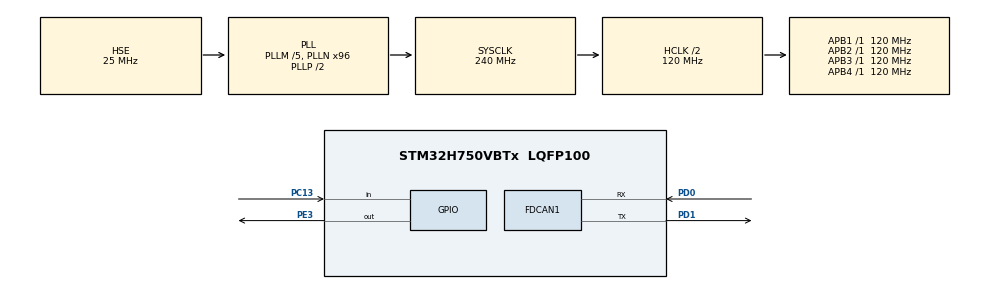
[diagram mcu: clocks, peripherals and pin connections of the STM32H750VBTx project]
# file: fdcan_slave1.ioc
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FDCAN1.AutoRetransmission=ENABLE
FDCAN1.CalculateBaudRateNominal=500000
FDCAN1.CalculateTimeBitNominal=2000
FDCAN1.CalculateTimeQuantumNominal=400.0
FDCAN1.DataPrescaler=25
FDCAN1.DataTimeSeg1=2
FDCAN1.FrameFormat=FDCAN_FRAME_FD_NO_BRS
FDCAN1.NominalPrescaler=20
FDCAN1.NominalSyncJumpWidth=13
FDCAN1.RxFifo0ElmtSize=FDCAN_DATA_BYTES_12
FDCAN1.RxFifo0ElmtsNbr=1
FDCAN1.StdFiltersNbr=1
FDCAN1.TxElmtSize=FDCAN_DATA_BYTES_12
FDCAN1.TxFifoQueueElmtsNbr=1
Mcu.Family=STM32H7
Mcu.Name=STM32H750VBTx
Mcu.Package=LQFP100
NVIC.FDCAN1_IT0_IRQn=true\:0\:0\:false\:false\:true\:true\:true\:true
NVIC.PriorityGroup=NVIC_PRIORITYGROUP_4
PA13\ (JTMS/SWDIO).Mode=Serial_Wire
PA13\ (JTMS/SWDIO).Signal=DEBUG_JTMS-SWDIO
PA14\ (JTCK/SWCLK).Mode=Serial_Wire
PA14\ (JTCK/SWCLK).Signal=DEBUG_JTCK-SWCLK
PC13.GPIO_PuPd=GPIO_PULLDOWN
PC13.Signal=GPIO_Input
PD0.Mode=FDCAN_Activate
PD0.Signal=FDCAN1_RX
PD1.Mode=FDCAN_Activate
PD1.Signal=FDCAN1_TX
PE3.GPIO_Speed=GPIO_SPEED_FREQ_VERY_HIGH
PE3.Signal=GPIO_Output
PH0-OSC_IN\ (PH0).Mode=HSE-External-Oscillator
PH0-OSC_IN\ (PH0).Signal=RCC_OSC_IN
PH1-OSC_OUT\ (PH1).Mode=HSE-External-Oscillator
PH1-OSC_OUT\ (PH1).Signal=RCC_OSC_OUT
ProjectManager.HeapSize=0x200
ProjectManager.StackSize=0x400
ProjectManager.TargetToolchain=STM32CubeIDE
RCC.ADCFreq_Value=100000000
RCC.APB1Freq_Value=120000000
RCC.APB2Freq_Value=120000000
RCC.APB3Freq_Value=120000000
RCC.APB4Freq_Value=120000000
RCC.CortexFreq_Value=240000000
RCC.DIVM1=5
RCC.DIVM2=2
RCC.DIVN1=96
RCC.DIVN2=16
RCC.DIVQ2=4
RCC.FDCANCLockSelection=RCC_FDCANCLKSOURCE_PLL2
RCC.HCLKFreq_Value=120000000
RCC.HPRE=RCC_HCLK_DIV2
RCC.PLLSourceVirtual=RCC_PLLSOURCE_HSE
RCC.SYSCLKFreq_VALUE=240000000
RCC.SYSCLKSource=RCC_SYSCLKSOURCE_PLLCLK
RCC.USBFreq_Value=240000000
board=custom

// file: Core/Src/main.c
/* USER CODE BEGIN Header */
/**
  ******************************************************************************
  * @file           : main.c
  * @brief          : Main program body
  ******************************************************************************
  * @attention
  *
  * Copyright (c) 2023 STMicroelectronics.
  * All rights reserved.
  *
  * This software is licensed under terms that can be found in the LICENSE file
  * in the root directory of this software component.
  * If no LICENSE file comes with this software, it is provided AS-IS.
  *
  ******************************************************************************
  */
/* USER CODE END Header */
#include "main.h"

/* USER CODE BEGIN Includes */
#include "stdio.h"
/* USER CODE END Includes */

/* USER CODE BEGIN PTD */
#ifndef HSEM_ID_0
#define HSEM_ID_0 (0U) /* HW semaphore 0*/
#endif
/* USER CODE END PTD */

FDCAN_HandleTypeDef hfdcan1;

/* USER CODE BEGIN PV */
FDCAN_TxHeaderTypeDef   TxHeader1;
FDCAN_RxHeaderTypeDef   RxHeader1;
uint8_t               TxData1[12];
uint8_t               RxData1[12];
int indx = 0;
int node_id = 10;
/* USER CODE END PV */

void SystemClock_Config(void);
static void MX_GPIO_Init(void);
static void MX_FDCAN1_Init(void);

/* USER CODE BEGIN 0 */
void HAL_FDCAN_RxFifo0Callback(FDCAN_HandleTypeDef *hfdcan, uint32_t RxFifo0ITs)
{
  if((RxFifo0ITs & FDCAN_IT_RX_FIFO0_NEW_MESSAGE) != RESET)
  {
    /* Retreive Rx messages from RX FIFO0 */
	 // HAL_GPIO_WritePin(GPIOE, GPIO_PIN_3, GPIO_PIN_SET);

    if (HAL_FDCAN_GetRxMessage(hfdcan, FDCAN_RX_FIFO0, &RxHeader1, RxData1) != HAL_OK)
    {
    /* Reception Error */
    Error_Handler();
	 // HAL_GPIO_WritePin(GPIOE, GPIO_PIN_3, GPIO_PIN_RESET);

    }

    if (HAL_FDCAN_ActivateNotification(hfdcan, FDCAN_IT_RX_FIFO0_NEW_MESSAGE, 0) != HAL_OK)
    {
      /* Notification Error */
      Error_Handler();
    }
/*
    if((RxHeader1.Identifier==0x11 )&&( RxHeader1.IdType == FDCAN_STANDARD_ID) &&( RxHeader1.DataLength == FDCAN_DLC_BYTES_12))
    {
    	RxData1[11] = 'z';
    	HAL_GPIO_WritePin(GPIOE, GPIO_PIN_3, GPIO_PIN_SET);
    }
    else
    {
   	 HAL_GPIO_WritePin(GPIOE, GPIO_PIN_3, GPIO_PIN_RESET);
    }
*/
  }
}

/* USER CODE END 0 */

int main(void)
{

  /* MCU Configuration--------------------------------------------------------*/

  /* Reset of all peripherals, Initializes the Flash interface and the Systick. */
  HAL_Init();

  /* Configure the system clock */
  SystemClock_Config();

  /* Initialize all configured peripherals */
  MX_GPIO_Init();
  MX_FDCAN1_Init();
  /* USER CODE BEGIN 2 */
  if(HAL_FDCAN_Start(&hfdcan1)!= HAL_OK)
   {
 	  Error_Handler();
   }
  if (HAL_FDCAN_ActivateNotification(&hfdcan1, FDCAN_IT_RX_FIFO0_NEW_MESSAGE, 0) != HAL_OK)
    {
      /* Notification Error */
      Error_Handler();
    }

  TxHeader1.Identifier = node_id;						//change
  TxHeader1.IdType = FDCAN_STANDARD_ID;
  TxHeader1.TxFrameType = FDCAN_DATA_FRAME;
  TxHeader1.DataLength = FDCAN_DLC_BYTES_12;
  TxHeader1.ErrorStateIndicator = FDCAN_ESI_ACTIVE;
  TxHeader1.BitRateSwitch = FDCAN_BRS_OFF;
  TxHeader1.FDFormat = FDCAN_FD_CAN;
  TxHeader1.TxEventFifoControl = FDCAN_NO_TX_EVENTS;
  TxHeader1.MessageMarker = 0;
/*
  RxHeader1.Identifier = 0x11;
  RxHeader1.IdType = FDCAN_STANDARD_ID;
  RxHeader1.RxFrameType =  FDCAN_DATA_FRAME;
  RxHeader1.DataLength= FDCAN_DLC_BYTES_12;
  RxHeader1.ErrorStateIndicator = FDCAN_ESI_ACTIVE;
  RxHeader1.BitRateSwitch = FDCAN_BRS_OFF;
  RxHeader1.FDFormat = FDCAN_FD_CAN;
  RxHeader1.TxEventFifoControl = FDCAN_NO_TX_EVENTS;
  RxHeader1.MessageMarker = 0;
*/

  /* USER CODE END 2 */

  /* Infinite loop */
  while (1)
  {

    /* USER CODE BEGIN 3 */
	  if(HAL_GPIO_ReadPin(GPIOC, GPIO_PIN_13)== GPIO_PIN_SET)
	  {
	  	  sprintf ((char *)TxData1, "node");
	  	  HAL_GPIO_WritePin(GPIOE, GPIO_PIN_3, GPIO_PIN_SET);
		  HAL_Delay(1000);
	  }

	  HAL_Delay(1000);

	  if (HAL_FDCAN_AddMessageToTxFifoQ(&hfdcan1, &TxHeader1, TxData1)!= HAL_OK)
	  {
	   Error_Handler();
	  }
 // HAL_FDCAN_AddMessageToTxBuffer(&hfdcan1, &TxHeader1, TxData1, indx);
  }
  /* USER CODE END 3 */
}

void SystemClock_Config(void)
{
  RCC_OscInitTypeDef RCC_OscInitStruct = {0};
  RCC_ClkInitTypeDef RCC_ClkInitStruct = {0};

  /** Supply configuration update enable
  */
  HAL_PWREx_ConfigSupply(PWR_LDO_SUPPLY);

  /** Configure the main internal regulator output voltage
  */
  __HAL_PWR_VOLTAGESCALING_CONFIG(PWR_REGULATOR_VOLTAGE_SCALE2);

  while(!__HAL_PWR_GET_FLAG(PWR_FLAG_VOSRDY)) {}

  /** Initializes the RCC Oscillators according to the specified parameters
  * in the RCC_OscInitTypeDef structure.
  */
  RCC_OscInitStruct.OscillatorType = RCC_OSCILLATORTYPE_HSE;
  RCC_OscInitStruct.HSEState = RCC_HSE_ON;
  RCC_OscInitStruct.PLL.PLLState = RCC_PLL_ON;
  RCC_OscInitStruct.PLL.PLLSource = RCC_PLLSOURCE_HSE;
  RCC_OscInitStruct.PLL.PLLM = 5;
  RCC_OscInitStruct.PLL.PLLN = 96;
  RCC_OscInitStruct.PLL.PLLP = 2;
  RCC_OscInitStruct.PLL.PLLQ = 2;
  RCC_OscInitStruct.PLL.PLLR = 2;
  RCC_OscInitStruct.PLL.PLLRGE = RCC_PLL1VCIRANGE_2;
  RCC_OscInitStruct.PLL.PLLVCOSEL = RCC_PLL1VCOWIDE;
  RCC_OscInitStruct.PLL.PLLFRACN = 0;
  if (HAL_RCC_OscConfig(&RCC_OscInitStruct) != HAL_OK)
  {
    Error_Handler();
  }

  /** Initializes the CPU, AHB and APB buses clocks
  */
  RCC_ClkInitStruct.ClockType = RCC_CLOCKTYPE_HCLK|RCC_CLOCKTYPE_SYSCLK
                              |RCC_CLOCKTYPE_PCLK1|RCC_CLOCKTYPE_PCLK2
                              |RCC_CLOCKTYPE_D3PCLK1|RCC_CLOCKTYPE_D1PCLK1;
  RCC_ClkInitStruct.SYSCLKSource = RCC_SYSCLKSOURCE_PLLCLK;
  RCC_ClkInitStruct.SYSCLKDivider = RCC_SYSCLK_DIV1;
  RCC_ClkInitStruct.AHBCLKDivider = RCC_HCLK_DIV2;
  RCC_ClkInitStruct.APB3CLKDivider = RCC_APB3_DIV1;
  RCC_ClkInitStruct.APB1CLKDivider = RCC_APB1_DIV1;
  RCC_ClkInitStruct.APB2CLKDivider = RCC_APB2_DIV1;
  RCC_ClkInitStruct.APB4CLKDivider = RCC_APB4_DIV1;

  if (HAL_RCC_ClockConfig(&RCC_ClkInitStruct, FLASH_LATENCY_2) != HAL_OK)
  {
    Error_Handler();
  }
}

static void MX_FDCAN1_Init(void)
{

  hfdcan1.Instance = FDCAN1;
  hfdcan1.Init.FrameFormat = FDCAN_FRAME_FD_NO_BRS;
  hfdcan1.Init.Mode = FDCAN_MODE_NORMAL;
  hfdcan1.Init.AutoRetransmission = ENABLE;
  hfdcan1.Init.TransmitPause = DISABLE;
  hfdcan1.Init.ProtocolException = DISABLE;
  hfdcan1.Init.NominalPrescaler = 20;
  hfdcan1.Init.NominalSyncJumpWidth = 13;
  hfdcan1.Init.NominalTimeSeg1 = 2;
  hfdcan1.Init.NominalTimeSeg2 = 2;
  hfdcan1.Init.DataPrescaler = 25;
  hfdcan1.Init.DataSyncJumpWidth = 1;
  hfdcan1.Init.DataTimeSeg1 = 2;
  hfdcan1.Init.DataTimeSeg2 = 1;
  hfdcan1.Init.MessageRAMOffset = 0;
  hfdcan1.Init.StdFiltersNbr = 1;
  hfdcan1.Init.ExtFiltersNbr = 0;
  hfdcan1.Init.RxFifo0ElmtsNbr = 1;
  hfdcan1.Init.RxFifo0ElmtSize = FDCAN_DATA_BYTES_12;
  hfdcan1.Init.RxFifo1ElmtsNbr = 0;
  hfdcan1.Init.RxFifo1ElmtSize = FDCAN_DATA_BYTES_8;
  hfdcan1.Init.RxBuffersNbr = 0;
  hfdcan1.Init.RxBufferSize = FDCAN_DATA_BYTES_8;
  hfdcan1.Init.TxEventsNbr = 0;
  hfdcan1.Init.TxBuffersNbr = 0;
  hfdcan1.Init.TxFifoQueueElmtsNbr = 1;
  hfdcan1.Init.TxFifoQueueMode = FDCAN_TX_FIFO_OPERATION;
  hfdcan1.Init.TxElmtSize = FDCAN_DATA_BYTES_12;
  if (HAL_FDCAN_Init(&hfdcan1) != HAL_OK)
  {
    Error_Handler();
  }
  /* USER CODE BEGIN FDCAN1_Init 2 */

  /* Configure Rx filter */

  /* USER CODE END FDCAN1_Init 2 */

}

static void MX_GPIO_Init(void)
{
  GPIO_InitTypeDef GPIO_InitStruct = {0};

  /* GPIO Ports Clock Enable */
  __HAL_RCC_GPIOE_CLK_ENABLE();
  __HAL_RCC_GPIOC_CLK_ENABLE();
  __HAL_RCC_GPIOH_CLK_ENABLE();
  __HAL_RCC_GPIOA_CLK_ENABLE();
  __HAL_RCC_GPIOD_CLK_ENABLE();

  /*Configure GPIO pin Output Level */
  HAL_GPIO_WritePin(GPIOE, GPIO_PIN_3, GPIO_PIN_RESET);

  /*Configure GPIO pin : PE3 */
  GPIO_InitStruct.Pin = GPIO_PIN_3;
  GPIO_InitStruct.Mode = GPIO_MODE_OUTPUT_PP;
  GPIO_InitStruct.Pull = GPIO_NOPULL;
  GPIO_InitStruct.Speed = GPIO_SPEED_FREQ_VERY_HIGH;
  HAL_GPIO_Init(GPIOE, &GPIO_InitStruct);

  /*Configure GPIO pin : PC13 */
  GPIO_InitStruct.Pin = GPIO_PIN_13;
  GPIO_InitStruct.Mode = GPIO_MODE_INPUT;
  GPIO_InitStruct.Pull = GPIO_PULLDOWN;
  HAL_GPIO_Init(GPIOC, &GPIO_InitStruct);

}

void Error_Handler(void)
{
  __disable_irq();
  while (1)
  {
  }
}
